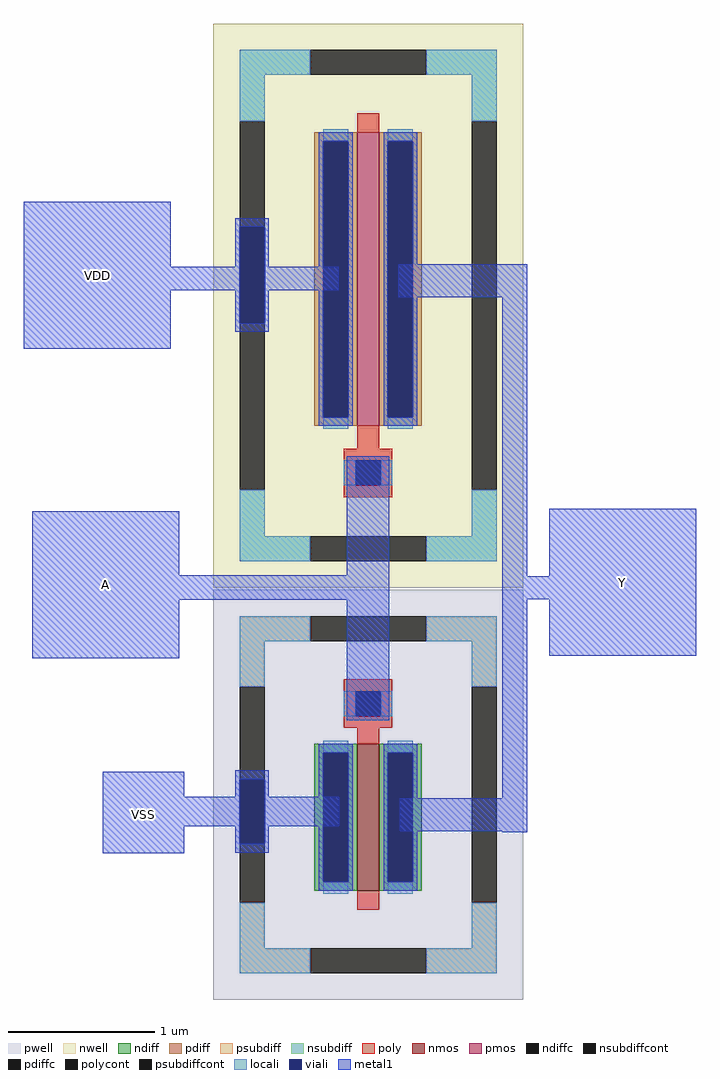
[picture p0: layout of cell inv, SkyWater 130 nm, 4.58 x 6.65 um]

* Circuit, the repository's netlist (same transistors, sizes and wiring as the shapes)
* NGSPICE file created from inv.ext - technology: sky130A

.subckt sky130_fd_pr__nfet_01v8_64Z3AY a_15_n131# a_n175_n243# a_n33_91# a_n73_n131#
X0 a_15_n131# a_n33_91# a_n73_n131# a_n175_n243# sky130_fd_pr__nfet_01v8 ad=2.9e+11p pd=2.58e+06u as=2.9e+11p ps=2.58e+06u w=1e+06u l=150000u
.ends

.subckt sky130_fd_pr__pfet_01v8_LGAKDL w_n211_n384# a_n73_n164# a_n33_n261# a_15_n164#
X0 a_15_n164# a_n33_n261# a_n73_n164# w_n211_n384# sky130_fd_pr__pfet_01v8 ad=5.8e+11p pd=4.58e+06u as=5.8e+11p ps=4.58e+06u w=2e+06u l=150000u
.ends

.subckt inv A Y VDD VSS
XXM1 Y VSS A VSS sky130_fd_pr__nfet_01v8_64Z3AY
XXM2 VDD VDD A Y sky130_fd_pr__pfet_01v8_LGAKDL
.ends

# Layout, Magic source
magic
tech sky130B
magscale 1 2
<< viali >>
rect 345 826 379 957
rect 345 117 379 205
<< metal1 >>
rect 51 903 251 991
rect 339 957 385 969
rect 339 903 345 957
rect 51 871 345 903
rect 51 791 251 871
rect 339 826 345 871
rect 379 903 385 957
rect 379 871 480 903
rect 379 826 385 871
rect 561 861 737 906
rect 339 814 385 826
rect 63 483 263 570
rect 491 483 549 645
rect 63 449 549 483
rect 63 370 263 449
rect 491 285 549 449
rect 703 481 737 861
rect 767 481 967 573
rect 703 450 967 481
rect 159 181 270 215
rect 339 205 385 217
rect 339 181 345 205
rect 159 141 345 181
rect 159 104 270 141
rect 339 117 345 141
rect 379 181 385 205
rect 379 141 481 181
rect 703 179 737 450
rect 767 373 967 450
rect 379 117 385 141
rect 563 134 737 179
rect 703 133 737 134
rect 339 105 385 117
use sky130_fd_pr__nfet_01v8_64Z3AY  XM1
transform 1 0 520 0 1 184
box -211 -279 211 279
use sky130_fd_pr__pfet_01v8_LGAKDL  XM2
transform 1 0 520 0 1 850
box -211 -384 211 384
<< labels >>
flabel metal1 51 791 251 991 0 FreeSans 256 0 0 0 VDD
port 2 nsew
flabel metal1 63 370 263 570 0 FreeSans 256 0 0 0 A
port 0 nsew
flabel metal1 767 373 967 573 0 FreeSans 256 0 0 0 Y
port 1 nsew
flabel metal1 166 113 263 202 1 FreeSerif 160 0 0 0 VSS
port 3 n
<< end >>

# cell sky130_fd_pr__nfet_01v8_64Z3AY: kit device sky130_fd_pr__nfet_01v8, w 1.0 l 0.15 m 1 nf 1 diffcov 100 polycov 100 guard 1 glc 1 grc 1 gtc 1 gbc 1 tbcov 100 rlcov 100 topc 1 botc 0 poverlap 0 doverlap 1 lmin 0.15 wmin 0.42 compatible {sky130_fd_pr__nfet_01v8 sky130_fd_pr__nfet_01v8_lvt sky130_fd_bs_flash__special_sonosfet_star sky130_fd_pr__nfet_g5v0d10v5 sky130_fd_pr__nfet_05v0_nvt sky130_fd_pr__nfet_03v3_nvt} full_metal 1 viasrc 100 viadrn 100 viagate 100 viagb 0 viagr 0 viagl 0 viagt 0

# cell sky130_fd_pr__pfet_01v8_LGAKDL: kit device sky130_fd_pr__pfet_01v8, w 2.0 l 0.15 m 1 nf 1 diffcov 100 polycov 100 guard 1 glc 1 grc 1 gtc 1 gbc 1 tbcov 100 rlcov 100 topc 0 botc 1 poverlap 0 doverlap 1 lmin 0.15 wmin 0.42 compatible {sky130_fd_pr__pfet_01v8 sky130_fd_pr__pfet_01v8_lvt sky130_fd_pr__pfet_01v8_hvt sky130_fd_pr__pfet_g5v0d10v5} full_metal 1 viasrc 100 viadrn 100 viagate 100 viagb 0 viagr 0 viagl 0 viagt 0
